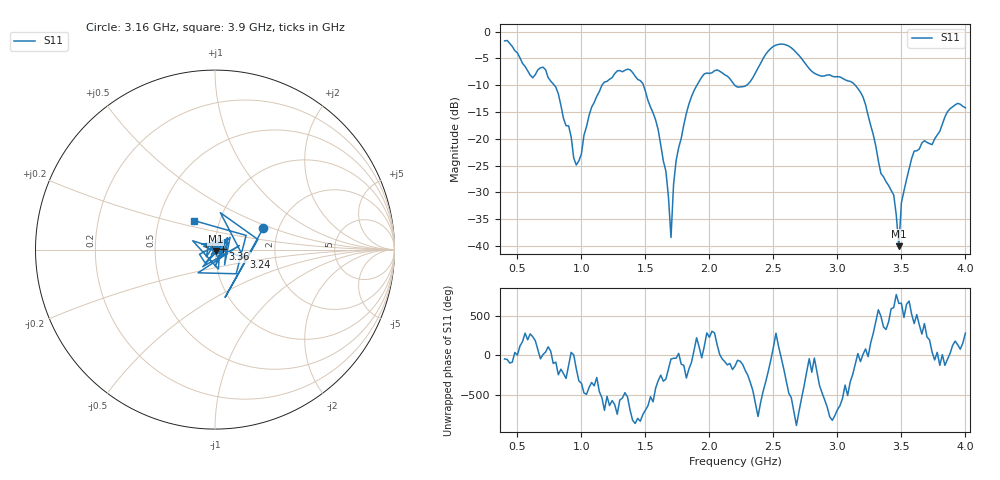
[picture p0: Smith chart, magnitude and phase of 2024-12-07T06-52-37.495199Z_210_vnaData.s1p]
!Created with skrf (http://scikit-rf.org).
# Hz S RI R 50.0
!freq ReS11 ImS11
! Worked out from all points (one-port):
!   181 points, 400 MHz to 4 GHz, reference 50 ohm
!   lowest |S11| = -40.0 dB at 3.48 GHz (marker M1), VSWR 1.02, Z = 50.5 - j0.875 ohm
!   |S11| at or under -10 dB: 788 MHz to 1.161 GHz (372.8 MHz wide, 38.3 % of centre); 1.484 GHz to 1.903 GHz (418.5 MHz wide, 24.7 % of centre); 3.139 GHz to end of sweep (the widest 3 of 4)
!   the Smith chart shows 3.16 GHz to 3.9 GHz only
!   S11 on the Smith chart (normalised r, x): 3.16 GHz: 1.66, +0.44; 3.24 GHz: 1.37, -0.12; 3.36 GHz: 1.09, +0.00; 3.9 GHz: 0.76, +0.25
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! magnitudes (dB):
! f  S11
! 400 MHz  -1.7
! 620 MHz  -8.6
! 720 MHz  -7.1
! 860 MHz  -16.2
! 960 MHz  -24.9
! 1.08 GHz  -14.1
! 1.3 GHz  -7.3
! 1.48 GHz  -9.7
! 1.58 GHz  -16.5
! 1.66 GHz  -26.0
! 1.7 GHz  -38.4
! 1.72 GHz  -28.5
! 1.76 GHz  -21.6
! 1.84 GHz  -13.5
! 1.96 GHz  -7.9
! 2.2 GHz  -10.1
! 2.5 GHz  -2.8
! 2.66 GHz  -3.5
! 3.1 GHz  -9.3
! 3.16 GHz  -10.6
! 3.24 GHz  -15.6
! 3.36 GHz  -27.1
! 3.44 GHz  -30.5
! 3.48 GHz  -40.0
! 3.5 GHz  -31.9
! 3.56 GHz  -25.6
! 3.9 GHz  -14.0
! 4 GHz  -14.2
